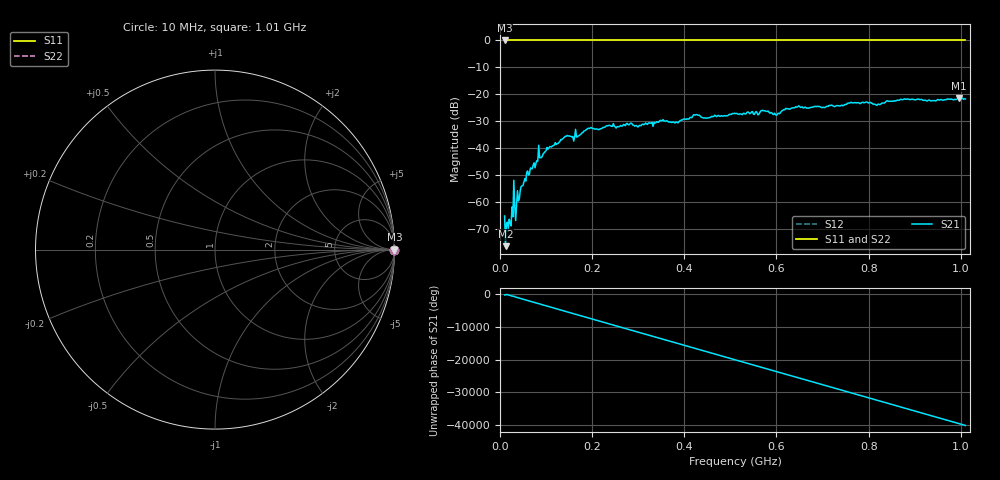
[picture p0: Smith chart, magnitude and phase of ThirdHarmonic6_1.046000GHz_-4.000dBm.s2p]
! 8/16/2025 9:09:33 AM
! C:\ANRITSUVNA\TEMP\TEMP.S2P
! CHANNEL.1
! TR.MEASUREMENT
! RAW.DATA
! RF.CORRECTION.OFF
! AVERAGING.OFF
! IF.BANDWIDTH: 5KHZ
! SWEEPTYPE:  FREQ.SWEEP(Linear)
! Reference Plane Port Info
! PORT:  PORT1  PORT2
! DISTANCE:  0  m  0  m
! TIME:  0  s  0  s
! PHASE.OFFSET:  0  deg.  0  deg.
! LOSS:  0  dB  0  dB
! REF.LOSS:  0  dB  0  dB
! REF.FREQ:  0  Hz  0  Hz
! Power Info
! POWER:  -20  dBm  -20  dBm
! EFF.POWER:  -20  dBm  -20  dBm
! SOURCE.ATTEN:  0  dB  0  dB
! TEST.ATTEN:  0  dB  0  dB
# GHZ S RI R 50.0
! FREQ.GHZ  S11RE  S11IM  S21RE  S21IM  S12RE  S12IM  S22RE  S22IM
!; PortSelection: Port_12
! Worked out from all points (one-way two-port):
!   501 points, 10 MHz to 1.01 GHz, reference 50 ohm
!   highest |S21| = -21.29 dB at 996 MHz (marker M1); lowest = -76.3 dB at 12 MHz (marker M2)
!   lowest |S11| = 0.0 dB at 10 MHz (marker M3)
!   |S11| at or under -10 dB: nowhere
!   |S22| runs from 0.0 to 0.0 dB; largest |S21 - S12| = 1.1
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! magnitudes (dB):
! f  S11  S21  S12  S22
! 10 MHz  0.0  -65.1  0.0  0.0
! 12 MHz  0.0  -76.3  0.0  0.0
! 16 MHz  0.0  -67.4  0.0  0.0
! 24 MHz  0.0  -68.8  0.0  0.0
! 28 MHz  0.0  -65.4  0.0  0.0
! 34 MHz  0.0  -66.8  0.0  0.0
! 38 MHz  0.0  -55.7  0.0  0.0
! 42 MHz  0.0  -58.6  0.0  0.0
! 56 MHz  0.0  -52.1  0.0  0.0
! 84 MHz  0.0  -38.9  0.0  0.0
! 142 MHz  0.0  -35.5  0.0  0.0
! 178 MHz  0.0  -34.3  0.0  0.0
! 194 MHz  0.0  -32.7  0.0  0.0
! 344 MHz  0.0  -30.3  0.0  0.0
! 510 MHz  0.0  -27.1  0.0  0.0
! 572 MHz  0.0  -26.1  0.0  0.0
! 602 MHz  0.0  -27.3  0.0  0.0
! 646 MHz  0.0  -24.6  0.0  0.0
! 678 MHz  0.0  -24.7  0.0  0.0
! 844 MHz  0.0  -22.6  0.0  0.0
! 996 MHz  0.0  -21.3  0.0  0.0
! 1.01 GHz  0.0  -21.7  0.0  0.0
